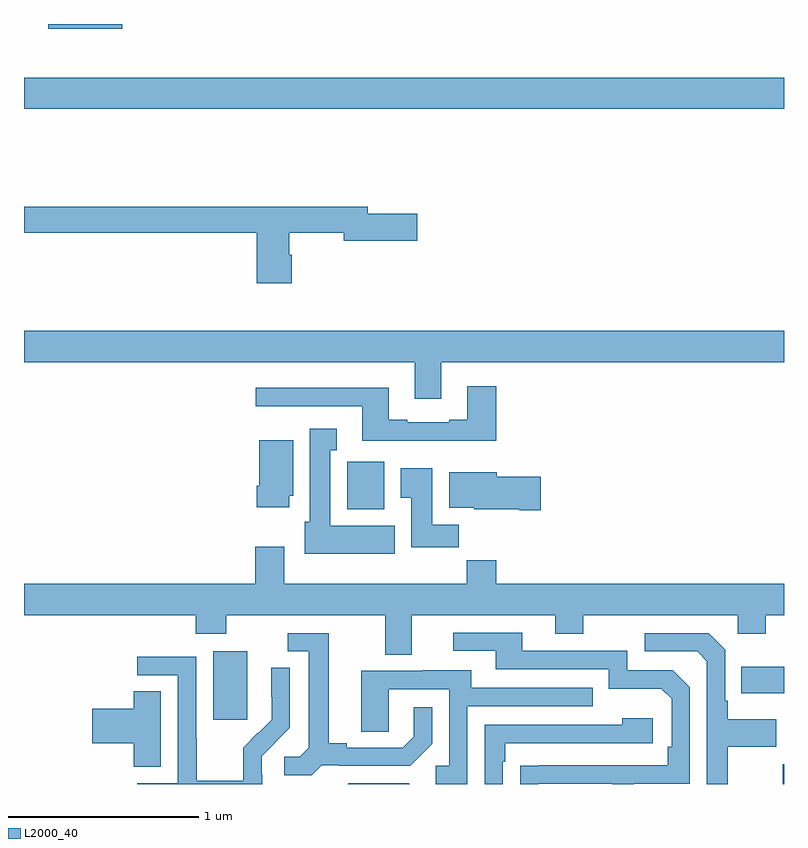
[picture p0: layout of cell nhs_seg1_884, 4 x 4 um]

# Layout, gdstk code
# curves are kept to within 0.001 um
import gdstk
lib = gdstk.Library(unit=1e-6, precision=1e-09)
def R(c, l, rs):  # rectangles x0, y0, x1, y1
    for r in rs: c.add(gdstk.rectangle(r[:2], r[2:], *l))
def P(c, l, *ps):  # polygons
    for p in ps: c.add(gdstk.Polygon(p, *l))
L2000_40 = (2000, 40)

nhs_seg1_884 = lib.new_cell('nhs_seg1_884')
R(nhs_seg1_884, L2000_40, [(162.993,528.199,163,528.302), (159.995,528.537,160.174,528.898), (162.775,528.677,163,528.817), (160.701,529.646,160.897,529.896), (159,531.752,163,531.916), (159.128,532.175,159.517,532.199)])
P(nhs_seg1_884, L2000_40, [(160.409,530.985),(160.396,530.985),(160.396,531.1),(160.682,531.1),(160.682,531.058),(161.071,531.058),(161.071,531.2),(160.81,531.2),(160.81,531.236),(159,531.236),(159,531.1),(160.226,531.1),(160.226,530.835),(160.409,530.835)],
  [(161.197,530.42),(163,530.42),(163,530.584),(159,530.584),(159,530.42),(161.057,530.42),(161.057,530.226),(161.197,530.226)],
  [(161.486,530.293),(161.333,530.293),(161.333,530.116),(161.237,530.116),(161.237,530.103),(161.017,530.103),(161.017,530.116),(160.921,530.116),(160.921,530.284),(160.221,530.284),(160.221,530.187),(160.781,530.187),(160.781,530.006),(161.486,530.006)],
  [(160.951,529.558),(160.612,529.558),(160.612,529.955),(160.645,529.955),(160.645,530.068),(160.505,530.068),(160.505,529.578),(160.478,529.578),(160.478,529.412),(160.951,529.412)],
  [(160.396,529.716),(160.417,529.716),(160.417,530.008),(160.238,530.008),(160.238,529.768),(160.226,529.768),(160.226,529.656),(160.396,529.656)],
  [(161.288,529.564),(161.149,529.564),(161.149,529.861),(160.982,529.861),(160.982,529.705),(161.039,529.705),(161.039,529.446),(161.288,529.446)],
  [(161.719,529.817),(161.488,529.817),(161.488,529.84),(161.237,529.84),(161.237,529.652),(161.37,529.652),(161.37,529.646),(161.606,529.646),(161.606,529.639),(161.719,529.639)],
  [(161.041,529.088),(161.795,529.088),(161.795,528.989),(161.943,528.989),(161.943,529.088),(162.756,529.088),(162.756,528.989),(162.903,528.989),(162.903,529.088),(163,529.088),(163,529.252),(161.486,529.252),(161.486,529.376),(161.329,529.376),(161.329,529.252),(160.369,529.252),(160.369,529.447),(160.217,529.447),(160.217,529.252),(159,529.252),(159,529.088),(159.905,529.088),(159.905,528.989),(160.065,528.989),(160.065,529.088),(160.901,529.088),(160.901,528.88),(161.041,528.88)],
  [(161.707,528.201),(162.097,528.201),(162.097,528.199),(162.209,528.199),(162.209,528.201),(162.504,528.201),(162.504,528.708),(162.414,528.798),(162.174,528.798),(162.174,528.9),(161.623,528.9),(161.623,528.996),(161.259,528.996),(161.259,528.9),(161.483,528.9),(161.483,528.804),(162.078,528.804),(162.078,528.701),(162.355,528.701),(162.408,528.648),(162.408,528.394),(162.388,528.394),(162.388,528.297),(161.611,528.296),(161.611,528.199),(161.707,528.199)],
  [(160.566,528.297),(160.66,528.297),(160.66,528.294),(161.032,528.294),(161.148,528.41),(161.148,528.604),(161.051,528.604),(161.051,528.447),(160.994,528.39),(160.699,528.39),(160.699,528.413),(160.603,528.413),(160.603,528.993),(160.389,528.993),(160.389,528.897),(160.499,528.897),(160.499,528.389),(160.452,528.342),(160.371,528.342),(160.371,528.245),(160.514,528.245)],
  [(162.703,528.394),(162.959,528.394),(162.959,528.541),(162.703,528.541),(162.703,528.637),(162.69,528.637),(162.69,528.906),(162.603,528.993),(162.267,528.993),(162.267,528.897),(162.543,528.897),(162.594,528.846),(162.594,528.199),(162.703,528.199)],
  [(160.254,528.249),(160.252,528.249),(160.252,528.346),(160.398,528.494),(160.398,528.812),(160.302,528.812),(160.302,528.658),(160.304,528.658),(160.304,528.536),(160.233,528.465),(160.23,528.468),(160.153,528.391),(160.153,528.217),(159.909,528.217),(159.909,528.44),(159.906,528.44),(159.906,528.87),(159.597,528.87),(159.597,528.771),(159.81,528.771),(159.81,528.204),(159.597,528.204),(159.597,528.199),(160.254,528.199)],
  [(161.334,528.609),(161.993,528.609),(161.993,528.705),(161.353,528.705),(161.353,528.799),(161.099,528.799),(161.099,528.795),(160.775,528.795),(160.775,528.475),(160.92,528.475),(160.92,528.699),(161.238,528.699),(161.238,528.294),(161.166,528.294),(161.166,528.199),(161.334,528.199)],
  [(159.721,528.686),(159.578,528.686),(159.578,528.596),(159.36,528.596),(159.36,528.413),(159.578,528.413),(159.578,528.289),(159.721,528.289)],
  [(161.52,528.317),(161.533,528.317),(161.533,528.414),(162.31,528.414),(162.31,528.544),(162.149,528.544),(162.149,528.51),(161.424,528.51),(161.424,528.199),(161.52,528.199)],
  [(161.025,528.204),(160.71,528.204),(160.705,528.199),(161.03,528.199)])

lib.write_gds('nhs_seg1_884.gds')
